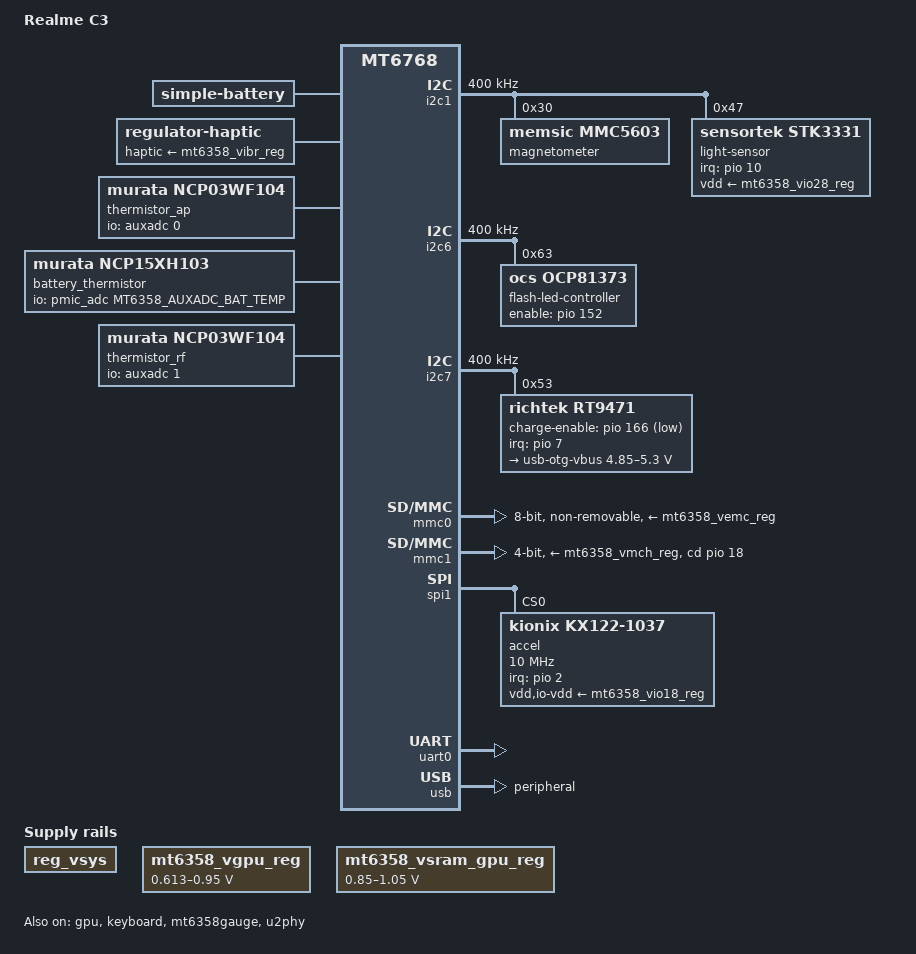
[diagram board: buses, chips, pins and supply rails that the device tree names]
// SPDX-License-Identifier: GPL-2.0+
/*
 * Copyright (c) 2026 Roman Vivchar <rva333@protonmail.com>
 */

/dts-v1/;
#include <dt-bindings/gpio/gpio.h>
#include <dt-bindings/interrupt-controller/irq.h>
#include <dt-bindings/leds/common.h>
#include "mt6768.dtsi"
#include "mt6358.dtsi"

/ {
	model = "Realme C3";
	compatible = "realme,monet", "mediatek,mt6768";

	aliases {
		serial0 = &uart0;
	};

	battery: battery {
		compatible = "simple-battery";
		alert-celsius = <0 44>;
		charge-full-design-microamp-hours = <5000000>;
		charge-term-current-microamp = <265000>;
		constant-charge-current-max-microamp = <2200000>;
		constant-charge-voltage-max-microvolt = <4435000>;
		ocv-capacity-celsius = <25>;
		ocv-capacity-table-0 =
			<4401000 100>, <4389350 99>, <4379037 98>, <4368474 97>, <4357646 96>,
			<4346860 95>, <4336019 94>, <4325149 93>, <4314367 92>, <4303012 91>,
			<4291335 90>, <4279393 89>, <4267226 88>, <4255313 87>, <4243459 86>,
			<4231640 85>, <4219955 84>, <4208316 83>, <4196632 82>, <4184937 81>,
			<4173340 80>, <4162054 79>, <4150922 78>, <4139458 77>, <4128481 76>,
			<4117695 75>, <4106826 74>, <4096007 73>, <4085427 72>, <4075360 71>,
			<4065362 70>, <4055380 69>, <4045397 68>, <4035808 67>, <4026584 66>,
			<4017456 65>, <4008163 64>, <3998933 63>, <3989812 62>, <3980605 61>,
			<3971076 60>, <3961006 59>, <3950234 58>, <3938772 57>, <3925913 56>,
			<3913954 55>, <3903686 54>, <3894758 53>, <3886879 52>, <3879517 51>,
			<3872994 50>, <3867174 49>, <3861355 48>, <3855781 47>, <3850621 46>,
			<3845681 45>, <3841090 44>, <3836615 43>, <3832084 42>, <3828553 41>,
			<3824533 40>, <3820434 39>, <3816719 38>, <3813413 37>, <3810023 36>,
			<3806728 35>, <3803425 34>, <3800034 33>, <3797309 32>, <3794404 31>,
			<3791046 30>, <3787910 29>, <3785145 28>, <3781210 27>, <3777042 26>,
			<3772869 25>, <3768772 24>, <3764351 23>, <3759794 22>, <3755991 21>,
			<3752112 20>, <3748799 19>, <3745162 18>, <3740491 17>, <3735159 16>,
			<3729120 15>, <3722930 14>, <3717051 13>, <3710366 12>, <3703045 11>,
			<3698167 10>, <3695511 9>, <3693861 8>, <3692567 7>, <3691226 6>,
			<3688100 5>, <3679533 4>, <3654276 3>, <3611423 2>, <3551665 1>,
			<3469236 0>;
		operating-range-celsius = <0 53>;
		precharge-current-microamp = <500000>;
		voltage-min-design-microvolt = <3400000>;
		voltage-max-design-microvolt = <4450000>;
	};

	chosen {
		stdout-path = "serial0:921600n8";
	};


	haptic {
		compatible = "regulator-haptic";
		haptic-supply = <&mt6358_vibr_reg>;
		min-microvolt = <2900000>;
		max-microvolt = <2900000>;
	};

	memory@40000000 {
		device_type = "memory";
		reg = <0 0x40000000 0 0>;
	};

	reg_vsys: regulator-vsys {
		compatible = "regulator-fixed";
		regulator-name = "vsys";
		regulator-always-on;
		regulator-boot-on;
	};

	reserved-memory {
		ranges;
		#address-cells = <2>;
		#size-cells = <2>;
	};

	thermal-zones {
		ap-thermal {
			polling-delay-passive = <0>;
			polling-delay = <1000>;
			thermal-sensors = <&thermistor_ap>;

			trips {
				ap-crit {
					temperature = <60000>;
					hysteresis = <2000>;
					type = "critical";
				};
			};
		};

		battery-thermal {
			polling-delay-passive = <1000>;
			polling-delay = <5000>;
			thermal-sensors = <&battery_thermistor>;

			trips {
				battery_alert: trip-alert {
					temperature = <44000>;
					hysteresis = <2000>;
					type = "passive";
				};

				trip-crit {
					temperature = <60000>;
					hysteresis = <2000>;
					type = "critical";
				};
			};

			cooling-maps {
				map0 {
					trip = <&battery_alert>;
					cooling-device = <&cpu0 THERMAL_NO_LIMIT THERMAL_NO_LIMIT>,
							 <&cpu1 THERMAL_NO_LIMIT THERMAL_NO_LIMIT>,
							 <&cpu2 THERMAL_NO_LIMIT THERMAL_NO_LIMIT>,
							 <&cpu3 THERMAL_NO_LIMIT THERMAL_NO_LIMIT>,
							 <&cpu4 THERMAL_NO_LIMIT THERMAL_NO_LIMIT>,
							 <&cpu5 THERMAL_NO_LIMIT THERMAL_NO_LIMIT>,
							 <&cpu6 THERMAL_NO_LIMIT THERMAL_NO_LIMIT>,
							 <&cpu7 THERMAL_NO_LIMIT THERMAL_NO_LIMIT>,
							 <&gpu THERMAL_NO_LIMIT THERMAL_NO_LIMIT>;
				};
			};
		};

		rf-thermal {
			polling-delay-passive = <0>;
			polling-delay = <1000>;
			thermal-sensors = <&thermistor_rf>;

			trips {
				rf-crit {
					temperature = <60000>;
					hysteresis = <2000>;
					type = "critical";
				};
			};
		};
	};

	thermistor_ap: thermistor-ap {
		compatible = "murata,ncp03wf104";
		pullup-uv = <1800000>;
		pullup-ohm = <390000>;
		pulldown-ohm = <0>;
		io-channels = <&auxadc 0>;
		#thermal-sensor-cells = <0>;
	};

	battery_thermistor: thermistor-battery {
		compatible = "murata,ncp15xh103";
		io-channels = <&pmic_adc MT6358_AUXADC_BAT_TEMP>;
		pullup-uv = <2800000>;
		pullup-ohm = <16000>;
		pulldown-ohm = <24000>;
		#thermal-sensor-cells = <0>;
	};

	thermistor_rf: thermistor-rf {
		compatible = "murata,ncp03wf104";
		pullup-uv = <1800000>;
		pullup-ohm = <390000>;
		pulldown-ohm = <0>;
		io-channels = <&auxadc 1>;
		#thermal-sensor-cells = <0>;
	};
};

&cci {
	proc-supply = <&mt6358_vproc12_reg>;
};

&cpu0 {
	proc-supply = <&mt6358_vproc12_reg>;
};

&cpu1 {
	proc-supply = <&mt6358_vproc12_reg>;
};

&cpu2 {
	proc-supply = <&mt6358_vproc12_reg>;
};

&cpu3 {
	proc-supply = <&mt6358_vproc12_reg>;
};

&cpu4 {
	proc-supply = <&mt6358_vproc12_reg>;
};

&cpu5 {
	proc-supply = <&mt6358_vproc12_reg>;
};

&cpu6 {
	proc-supply = <&mt6358_vproc11_reg>;
};

&cpu7 {
	proc-supply = <&mt6358_vproc11_reg>;
};

&gpu {
	mali-supply = <&mt6358_vgpu_reg>;
	status = "okay";
};

&i2c1 {
	clock-frequency = <400000>;
	pinctrl-0 = <&i2c1_pins>;
	pinctrl-names = "default";
	status = "okay";

	magnetometer@30 {
		compatible = "memsic,mmc5603";
		reg = <0x30>;
	};

	light-sensor@47 {
		compatible = "sensortek,stk3331", "sensortek,stk3337", "sensortek,stk3310";
		reg = <0x47>;
		interrupt-parent = <&pio>;
		interrupts = <10 IRQ_TYPE_LEVEL_LOW>;
		pinctrl-0 = <&light_sensor_pins>;
		pinctrl-names = "default";
		vdd-supply = <&mt6358_vio28_reg>;
	};
};

&i2c6 {
	pinctrl-0 = <&i2c6_pins>;
	pinctrl-names = "default";
	clock-frequency = <400000>;
	status = "okay";

	flash-led-controller@63 {
		compatible = "ocs,ocp81373";
		reg = <0x63>;
		enable-gpios = <&pio 152 GPIO_ACTIVE_HIGH>;
		pinctrl-0 = <&flashlight_pins>;
		pinctrl-names = "default";
		#address-cells = <1>;
		#size-cells = <0>;

		led@0 {
			reg = <0>;
			function = LED_FUNCTION_FLASH;
			color = <LED_COLOR_ID_WHITE>;
			led-sources = <0>;
			flash-max-microamp = <1500000>;
			led-max-microamp = <179000>;
			flash-max-timeout-us = <400000>;
		};
	};
};

&i2c7 {
	clock-frequency = <400000>;
	pinctrl-0 = <&i2c7_pins>;
	pinctrl-names = "default";
	status = "okay";

	rt9471: charger@53 {
		compatible = "richtek,rt9471";
		reg = <0x53>;
		interrupt-parent = <&pio>;
		interrupts = <7 IRQ_TYPE_EDGE_FALLING>;
		charge-enable-gpios = <&pio 166 GPIO_ACTIVE_LOW>;
		pinctrl-0 = <&charger_pins>;
		pinctrl-names = "default";
		wakeup-source;
		status = "okay";

		usb-otg-vbus-regulator {
			regulator-name = "usb-otg-vbus";
			regulator-min-microvolt = <4850000>;
			regulator-max-microvolt = <5300000>;
			regulator-min-microamp = <500000>;
			regulator-max-microamp = <1200000>;
		};
	};
};

&keyboard {
	debounce-delay-ms = <32>;
	pinctrl-0 = <&keyboard_pins>;
	pinctrl-names = "default";

	keypad,num-rows = <1>;
	keypad,num-columns = <2>;
	linux,keymap = <MATRIX_KEY(0x00, 0x01, KEY_VOLUMEDOWN)>;

	status = "okay";
};

&mfg_async {
	domain-supply = <&mt6358_vsram_gpu_reg>;
};

&mfg {
	domain-supply = <&mt6358_vgpu_reg>;
};

&mmc0 {
	bus-width = <8>;
	max-frequency = <200000000>;
	cap-mmc-highspeed;
	mmc-ddr-1_8v;
	mmc-hs200-1_8v;
	mmc-hs400-1_8v;
	cap-mmc-hw-reset;
	no-sdio;
	no-sd;
	non-removable;
	supports-cqe;
	cap-mmc-hw-reset;
	hs400-ds-delay = <0x12814>;
	vmmc-supply = <&mt6358_vemc_reg>;
	vqmmc-supply = <&mt6358_vio18_reg>;
	pinctrl-0 = <&mmc0_default_pins>;
	pinctrl-1 = <&mmc0_uhs_pins>;
	pinctrl-names = "default", "state_uhs";

	status = "okay";
};

&mmc1 {
	assigned-clocks = <&apmixedsys CLK_APMIXED_MSDCPLL>,
			  <&topckgen CLK_TOP_MSDC30_1_SEL>;
	assigned-clock-rates = <400000000>;
	assigned-clock-parents = <0>, <&topckgen CLK_TOP_MSDCPLL_D2>;

	bus-width = <4>;
	max-frequency = <200000000>;
	cap-sd-highspeed;
	sd-uhs-sdr12;
	sd-uhs-sdr25;
	sd-uhs-sdr50;
	sd-uhs-sdr104;
	sd-uhs-ddr50;
	no-mmc;
	no-sdio;
	cd-gpios = <&pio 18 GPIO_ACTIVE_HIGH>;
	vmmc-supply = <&mt6358_vmch_reg>;
	vqmmc-supply = <&mt6358_vmc_reg>;

	/*
	 * SIM and microSD tray shares the same output detect pin. All 3 GPIOs
	 * for microSD, SIM1 and SIM2 detection must be pulled up high to avoid
	 * breaking each other.
	 */
	pinctrl-0 = <&mmc1_pins>, <&sim_pins>;
	pinctrl-1 = <&mmc1_pins>, <&sim_pins>;
	pinctrl-names = "default", "state_uhs";

	status = "okay";
};

&mt6358gauge {
	monitored-battery = <&battery>;
	power-supplies = <&rt9471>;
	shunt-resistor-micro-ohms = <5000>;
	mediatek,car-tune-value = <1000>;
	status = "okay";
};

&mt6358keys {
	home {
		linux,keycodes = <KEY_VOLUMEUP>;
	};
};

/* PMIC analog supply */
&mt6358_vaux18_reg {
	regulator-always-on;
};

/* Battery NTC pull-up */
&mt6358_vbif28_reg {
	regulator-always-on;
};

&mt6358_vdram2_reg {
	regulator-always-on;
};

&mt6358_vio28_reg {
	regulator-always-on;
};

&mt6358_vgpu_reg {
	regulator-min-microvolt = <612500>;
	regulator-max-microvolt = <950000>;

	regulator-coupled-with = <&mt6358_vsram_gpu_reg>;
	regulator-coupled-max-spread = <100000>;
};

&mt6358_vsram_gpu_reg {
	regulator-min-microvolt = <850000>;
	regulator-max-microvolt = <1050000>;

	regulator-coupled-with = <&mt6358_vgpu_reg>;
	regulator-coupled-max-spread = <100000>;
};

&mt6358regulator {
	vs1-ldo1-supply = <&mt6358_vs1_reg>;
	vs2-ldo1-supply = <&mt6358_vdram1_reg>;
	vs2-ldo2-supply = <&mt6358_vs2_reg>;
	vs2-ldo3-supply = <&mt6358_vs2_reg>;
	vs2-ldo4-supply = <&mt6358_vs2_reg>;
};

&pio {
	accel_pins: accel-pins {
		pins-int {
			pinmux = <PINMUX_GPIO2__FUNC_GPIO2>;
			input-enable;
			bias-pull-up;
		};
	};

	charger_pins: charger-pins {
		pins-en {
			pinmux = <PINMUX_GPIO166__FUNC_GPIO166>;
			output-high;
		};

		pins-int {
			pinmux = <PINMUX_GPIO7__FUNC_GPIO7>;
			input-enable;
			bias-pull-up;
		};
	};

	flashlight_pins: flashlight-pins {
		pins-hwen {
			pinmux = <PINMUX_GPIO152__FUNC_GPIO152>;
			output-low;
			bias-pull-down;
		};
	};

	i2c1_pins: i2c1-pins {
		pins-bus {
			pinmux = <PINMUX_GPIO84__FUNC_SCL1>,
				 <PINMUX_GPIO81__FUNC_SDA1>;
			bias-pull-up;
			input-enable;
		};
	};

	i2c6_pins: i2c6-pins {
		pins-bus {
			pinmux = <PINMUX_GPIO89__FUNC_SCL6>,
				 <PINMUX_GPIO90__FUNC_SDA6>;
			bias-pull-up;
			input-enable;
		};
	};

	i2c7_pins: i2c7-pins {
		pins-bus {
			pinmux = <PINMUX_GPIO175__FUNC_SCL7>,
				 <PINMUX_GPIO176__FUNC_SDA7>;
			bias-pull-up;
			input-enable;
		};
	};

	keyboard_pins: keyboard-pins {
		pins-col {
			pinmux = <PINMUX_GPIO94__FUNC_KPCOL1>;
			bias-pull-up = <MTK_PUPD_SET_R1R0_01>;
			input-enable;
		};
	};

	light_sensor_pins: light-sensor-pins {
		pins-int {
			pinmux = <PINMUX_GPIO10__FUNC_GPIO10>;
			input-enable;
			bias-pull-up;
		};
	};

	mmc0_default_pins: mmc0-default-pins {
		pins-clk {
			pinmux = <PINMUX_GPIO124__FUNC_MSDC0_CLK>;
			drive-strength = <4>;
			bias-pull-down = <MTK_PUPD_SET_R1R0_10>;
		};

		pins-cmd-dat {
			pinmux = <PINMUX_GPIO123__FUNC_MSDC0_DAT0>,
				 <PINMUX_GPIO128__FUNC_MSDC0_DAT1>,
				 <PINMUX_GPIO125__FUNC_MSDC0_DAT2>,
				 <PINMUX_GPIO132__FUNC_MSDC0_DAT3>,
				 <PINMUX_GPIO126__FUNC_MSDC0_DAT4>,
				 <PINMUX_GPIO129__FUNC_MSDC0_DAT5>,
				 <PINMUX_GPIO127__FUNC_MSDC0_DAT6>,
				 <PINMUX_GPIO130__FUNC_MSDC0_DAT7>,
				 <PINMUX_GPIO122__FUNC_MSDC0_CMD>;
			input-enable;
			drive-strength = <4>;
			bias-pull-up = <MTK_PUPD_SET_R1R0_01>;
		};

		pins-ds {
			pinmux = <PINMUX_GPIO131__FUNC_MSDC0_DSL>;
			drive-strength = <4>;
			bias-pull-down = <MTK_PUPD_SET_R1R0_10>;
		};

		pins-rst {
			pinmux = <PINMUX_GPIO133__FUNC_MSDC0_RSTB>;
			drive-strength = <4>;
			bias-pull-up = <MTK_PUPD_SET_R1R0_01>;
		};
	};

	mmc0_uhs_pins: mmc0-uhs-pins {
		pins-clk {
			pinmux = <PINMUX_GPIO124__FUNC_MSDC0_CLK>;
			drive-strength = <6>;
			bias-pull-down = <MTK_PUPD_SET_R1R0_10>;
		};

		pins-cmd {
			pinmux = <PINMUX_GPIO122__FUNC_MSDC0_CMD>;
			drive-strength = <4>;
			bias-pull-up = <MTK_PUPD_SET_R1R0_01>;
			input-enable;
		};

		pins-dat {
			pinmux = <PINMUX_GPIO123__FUNC_MSDC0_DAT0>,
				 <PINMUX_GPIO128__FUNC_MSDC0_DAT1>,
				 <PINMUX_GPIO125__FUNC_MSDC0_DAT2>,
				 <PINMUX_GPIO132__FUNC_MSDC0_DAT3>,
				 <PINMUX_GPIO126__FUNC_MSDC0_DAT4>,
				 <PINMUX_GPIO129__FUNC_MSDC0_DAT5>,
				 <PINMUX_GPIO127__FUNC_MSDC0_DAT6>,
				 <PINMUX_GPIO130__FUNC_MSDC0_DAT7>;
			input-enable;
			drive-strength = <6>;
			bias-pull-up = <MTK_PUPD_SET_R1R0_01>;
		};

		pins-ds {
			pinmux = <PINMUX_GPIO131__FUNC_MSDC0_DSL>;
			drive-strength = <6>;
			bias-pull-down = <MTK_PUPD_SET_R1R0_10>;
		};

		pins-rst {
			pinmux = <PINMUX_GPIO133__FUNC_MSDC0_RSTB>;
			drive-strength = <4>;
			bias-pull-up = <MTK_PUPD_SET_R1R0_01>;
		};
	};

	mmc1_pins: mmc1-pins {
		pins-cd {
			pinmux = <PINMUX_GPIO18__FUNC_GPIO18>;
			bias-pull-up;
			input-enable;
		};

		pins-clk {
			pinmux = <PINMUX_GPIO171__FUNC_MSDC1_CLK>;
			drive-strength = <4>;
			bias-pull-down = <MTK_PUPD_SET_R1R0_10>;
		};

		pins-cmd-dat {
			pinmux = <PINMUX_GPIO164__FUNC_MSDC1_DAT0>,
				 <PINMUX_GPIO163__FUNC_MSDC1_DAT1>,
				 <PINMUX_GPIO162__FUNC_MSDC1_DAT2>,
				 <PINMUX_GPIO161__FUNC_MSDC1_DAT3>,
				 <PINMUX_GPIO170__FUNC_MSDC1_CMD>;
			input-enable;
			drive-strength = <4>;
			bias-pull-up = <MTK_PUPD_SET_R1R0_01>;
		};
	};

	pwrap_pins: pwrap-pins {
		pins-bus {
			pinmux = <PINMUX_GPIO145__FUNC_PWRAP_SPI0_CSN>,
				 <PINMUX_GPIO146__FUNC_PWRAP_SPI0_MO>,
				 <PINMUX_GPIO147__FUNC_PWRAP_SPI0_CK>;
			bias-disable;
		};

		pins-mi {
			pinmux = <PINMUX_GPIO144__FUNC_PWRAP_SPI0_MI>;
			input-enable;
			bias-pull-down;
		};
	};

	sim_pins: sim-pins {
		pins-cd {
			pinmux = <PINMUX_GPIO46__FUNC_MD_INT2_C2K_UIM1_HOT_PLUG>,
				 <PINMUX_GPIO47__FUNC_MD_INT1_C2K_UIM0_HOT_PLUG>;
			input-enable;
			bias-pull-up;
		};
	};

	spi1_pins: spi1-pins {
		pins-bus {
			pinmux = <PINMUX_GPIO86__FUNC_SPI1_A_CSB>,
				 <PINMUX_GPIO87__FUNC_SPI1_A_MO>,
				 <PINMUX_GPIO88__FUNC_SPI1_A_CLK>;
			drive-strength = <4>;
			bias-disable;
		};

		pins-mi {
			pinmux = <PINMUX_GPIO85__FUNC_SPI1_A_MI>;
			drive-strength = <4>;
			input-enable;
			bias-pull-down;
		};
	};

	uart0_pins: uart0-pins {
		pins-rx {
			pinmux = <PINMUX_GPIO95__FUNC_URXD0>;
			input-enable;
			bias-pull-up;
		};

		pins-tx {
			pinmux = <PINMUX_GPIO96__FUNC_UTXD0>;
		};
	};
};

&pmic {
	interrupts-extended = <&pio 144 IRQ_TYPE_LEVEL_HIGH>;
};

&pwrap {
	pinctrl-0 = <&pwrap_pins>;
	pinctrl-names = "default";
};

&spi1 {
	pinctrl-0 = <&spi1_pins>;
	pinctrl-names = "default";
	mediatek,pad-select = <0>;
	status = "okay";

	accel@0 {
		compatible = "kionix,kx122-1037";
		reg = <0>;
		spi-max-frequency = <10000000>;
		interrupt-parent = <&pio>;
		interrupts = <2 IRQ_TYPE_LEVEL_LOW>;
		interrupt-names = "INT1";
		mount-matrix = "0", "1", "0",
			       "1", "0", "0",
			       "0", "0", "-1";
		pinctrl-0 = <&accel_pins>;
		pinctrl-names = "default";
		vdd-supply = <&mt6358_vio18_reg>;
		io-vdd-supply = <&mt6358_vio18_reg>;
	};
};

&uart0 {
	pinctrl-0 = <&uart0_pins>;
	pinctrl-names = "default";
	status = "okay";
};

&usb {
	dr_mode = "peripheral";
	status = "okay";
};

&u2phy {
	status = "okay";
};
